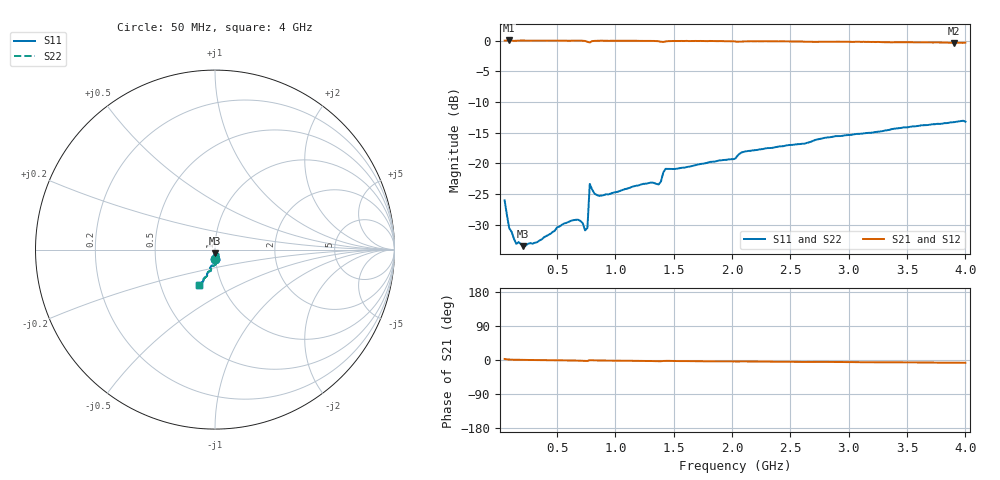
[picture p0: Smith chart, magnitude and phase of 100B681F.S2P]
!  American Technical Ceramics  Date:  3/13/98
!  One Norden Lane
!  Huntington Station,  NY.  11746-2102
!  Tel:  (516) 547-5700  Fax:  (516) 547-5748
!  Part Number  100b681f
!  Description: Porcelain, High Q, Low ESR
!  Application: Bypass, Coupling, Timing, Feedback
!  Tuning, Impedance Match, Blocking
# GHZ S DB R 50
! Freq  |S11|  S11 Ph  |S21|  S21 Ph  |S12|  S12 Ph  |S22|  S22 Ph
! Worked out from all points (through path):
!   201 points, 50 MHz to 4 GHz, reference 50 ohm
!   highest |S21| = 0.02 dB at 90 MHz (marker M1); lowest = -0.4 dB at 3.9 GHz (marker M2)
!   group delay of S21, straight-line fit = 5.38 ps
!   lowest |S11| = -33.5 dB at 210 MHz (marker M3), VSWR 1.04, Z = 49.9 - j2.1 ohm
!   |S11| at or under -10 dB: start of sweep to end of sweep
!   |S22| runs from -33.5 to -13.1 dB; largest |S21 - S12| = 0
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0.05  -26.04 -90.1  -0.01 2.7  -0.01 2.7  -26.04 -90.1
0.09  -30.63 -90.8  0.02 1.2  0.02 1.2  -30.63 -90.8
0.15  -33.16 -91.1  -0.03 0.7  -0.03 0.7  -33.16 -91.1
0.21  -33.53 -92.6  0.00 0.2  0.00 0.2  -33.53 -92.6
0.33  -32.87 -92.6  0.00 -0.3  0.00 -0.3  -32.87 -92.6
0.62  -29.39 -95.5  -0.02 -1.4  -0.02 -1.4  -29.39 -95.5
0.68  -29.22 -96.5  -0.01 -1.5  -0.01 -1.5  -29.22 -96.5
0.72  -29.81 -94.3  -0.03 -1.9  -0.03 -1.9  -29.81 -94.3
0.74  -30.95 -88.4  -0.06 -2.1  -0.06 -2.1  -30.95 -88.4
0.76  -30.54 -52.3  -0.20 -2.6  -0.20 -2.6  -30.54 -52.3
0.78  -23.38 -69.4  -0.31 -0.5  -0.31 -0.5  -23.38 -69.4
0.82  -24.94 -93.6  -0.05 -1.0  -0.05 -1.0  -24.94 -93.6
0.86  -25.33 -96.2  -0.04 -1.3  -0.04 -1.3  -25.33 -96.2
1.24  -23.36 -100.2  -0.04 -2.5  -0.04 -2.5  -23.36 -100.2
1.37  -23.46 -96.0  -0.10 -3.2  -0.10 -3.2  -23.46 -96.0
1.43  -20.92 -94.4  -0.14 -2.3  -0.14 -2.3  -20.92 -94.4
2.03  -19.22 -102.1  -0.15 -4.1  -0.15 -4.1  -19.22 -102.1
2.12  -18.06 -104.4  -0.13 -3.8  -0.13 -3.8  -18.06 -104.4
2.7  -16.30 -106.9  -0.21 -5.0  -0.21 -5.0  -16.30 -106.9
3.35  -14.55 -110.3  -0.28 -6.1  -0.28 -6.1  -14.55 -110.3
3.9  -13.31 -112.4  -0.37 -7.2  -0.37 -7.2  -13.31 -112.4
4  -13.22 -114.3  -0.33 -7.3  -0.33 -7.3  -13.22 -114.3
